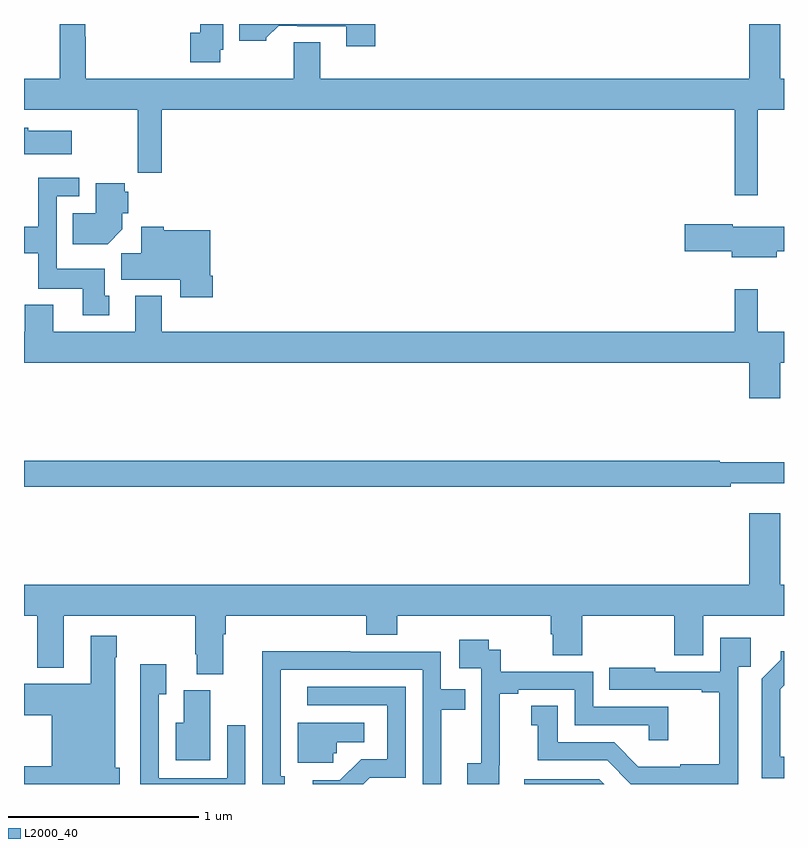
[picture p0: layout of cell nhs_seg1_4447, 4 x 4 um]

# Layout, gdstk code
import gdstk
lib = gdstk.Library(unit=1e-6, precision=1e-09)
def P(c, l, *ps):  # polygons
    for p in ps: c.add(gdstk.Polygon(p, *l))
L2000_40 = (2000, 40)

nhs_seg1_4447 = lib.new_cell('nhs_seg1_4447')
P(nhs_seg1_4447, L2000_40, [(356.863,535.748),(357,535.748),(357,535.912),(356.98,535.912),(356.98,536.199),(356.816,536.199),(356.816,535.912),(354.559,535.912),(354.559,536.102),(354.419,536.102),(354.419,535.912),(353.324,535.912),(353.324,536.132),(353.323,536.132),(353.323,536.199),(353.188,536.199),(353.188,535.912),(353,535.912),(353,535.748),(353.598,535.748),(353.598,535.416),(353.726,535.416),(353.726,535.748),(356.742,535.748),(356.742,535.299),(356.863,535.299)],
  [(354.033,536.064),(354.049,536.064),(354.049,536.199),(353.927,536.199),(353.927,536.154),(353.876,536.154),(353.876,535.998),(354.033,535.998)],
  [(354.848,536.199),(354.134,536.199),(354.134,536.111),(354.276,536.111),(354.276,536.126),(354.34,536.19),(354.439,536.19),(354.439,536.187),(354.695,536.187),(354.695,536.082),(354.848,536.082)],
  [(353.251,535.636),(353.022,535.636),(353.022,535.654),(353,535.654),(353,535.514),(353.251,535.514)],
  [(353.449,534.768),(353.425,534.768),(353.425,534.91),(353.172,534.91),(353.172,535.293),(353.29,535.293),(353.29,535.389),(353.076,535.389),(353.076,535.132),(353,535.132),(353,534.992),(353.074,534.992),(353.074,534.806),(353.309,534.806),(353.309,534.666),(353.449,534.666)],
  [(353.518,535.118),(353.518,535.203),(353.549,535.203),(353.549,535.317),(353.531,535.317),(353.531,535.362),(353.378,535.362),(353.378,535.204),(353.257,535.204),(353.257,535.04),(353.44,535.04)],
  [(356.962,535.003),(357,535.003),(357,535.132),(356.73,535.132),(356.73,535.145),(356.478,535.145),(356.478,535.003),(356.726,535.003),(356.726,534.971),(356.962,534.971)],
  [(353.993,534.874),(353.98,534.874),(353.98,535.114),(353.736,535.114),(353.736,535.132),(353.618,535.132),(353.618,534.992),(353.513,534.992),(353.513,534.854),(353.822,534.854),(353.822,534.762),(353.993,534.762)],
  [(356.98,534.416),(357,534.416),(357,534.58),(356.863,534.58),(356.863,534.802),(356.742,534.802),(356.742,534.58),(353.725,534.58),(353.725,534.769),(353.585,534.769),(353.585,534.58),(353.155,534.58),(353.155,534.721),(353.003,534.721),(353.003,534.58),(353,534.58),(353,534.416),(356.816,534.416),(356.816,534.228),(356.98,534.228)],
  [(356.72,533.783),(357,533.783),(357,533.893),(356.662,533.893),(356.662,533.9),(353,533.9),(353,533.764),(356.72,533.764)],
  [(353,533.084),(353.069,533.084),(353.069,532.811),(353.209,532.811),(353.209,533.084),(353.902,533.084),(353.902,532.882),(353.909,532.882),(353.909,532.777),(354.049,532.777),(354.049,532.988),(354.062,532.988),(354.062,533.084),(354.8,533.084),(354.8,532.985),(354.965,532.985),(354.965,533.084),(355.772,533.084),(355.772,532.986),(355.784,532.986),(355.784,532.876),(355.937,532.876),(355.937,533.084),(356.423,533.084),(356.423,532.876),(356.575,532.876),(356.575,533.084),(357,533.084),(357,533.248),(356.98,533.248),(356.98,533.623),(356.816,533.623),(356.816,533.248),(353,533.248)],
  [(353.503,532.284),(353.479,532.284),(353.479,532.865),(353.487,532.865),(353.487,532.978),(353.351,532.978),(353.351,532.726),(353,532.726),(353,532.562),(353.147,532.562),(353.147,532.292),(353,532.292),(353,532.199),(353.503,532.199)],
  [(356.76,532.817),(356.825,532.817),(356.825,532.969),(356.664,532.969),(356.664,532.791),(356.323,532.791),(356.323,532.81),(356.08,532.81),(356.08,532.695),(356.567,532.695),(356.567,532.683),(356.659,532.683),(356.659,532.303),(356.453,532.303),(356.453,532.291),(356.234,532.291),(356.106,532.419),(355.81,532.419),(355.81,532.61),(355.67,532.61),(355.67,532.507),(355.703,532.507),(355.703,532.323),(356.07,532.323),(356.194,532.199),(356.76,532.199)],
  [(355.502,532.297),(355.504,532.297),(355.504,532.675),(355.6,532.675),(355.6,532.695),(355.899,532.695),(355.899,532.509),(356.289,532.509),(356.289,532.428),(356.39,532.428),(356.39,532.605),(355.995,532.605),(355.995,532.791),(355.508,532.791),(355.508,532.905),(355.446,532.905),(355.446,532.957),(355.29,532.957),(355.29,532.809),(355.407,532.809),(355.407,532.505),(355.406,532.505),(355.406,532.308),(355.332,532.308),(355.332,532.199),(355.502,532.199)],
  [(354.373,532.239),(354.351,532.239),(354.351,532.8),(355.098,532.8),(355.098,532.199),(355.195,532.199),(355.195,532.59),(355.322,532.59),(355.322,532.698),(355.194,532.698),(355.194,532.896),(354.716,532.896),(354.716,532.898),(354.254,532.898),(354.254,532.594),(354.255,532.594),(354.255,532.199),(354.373,532.199)],
  [(357,532.343),(356.98,532.343),(356.98,532.699),(357,532.719),(357,532.898),(356.982,532.898),(356.982,532.853),(356.883,532.754),(356.883,532.23),(357,532.23)],
  [(354.165,532.507),(354.069,532.507),(354.069,532.23),(353.709,532.23),(353.709,532.672),(353.749,532.672),(353.749,532.828),(353.612,532.828),(353.612,532.384),(353.613,532.384),(353.613,532.199),(354.165,532.199)],
  [(354.819,532.233),(355.008,532.233),(355.008,532.71),(354.492,532.71),(354.492,532.614),(354.912,532.614),(354.912,532.329),(354.774,532.329),(354.663,532.218),(354.519,532.218),(354.519,532.199),(354.785,532.199)],
  [(353.98,532.692),(353.84,532.692),(353.84,532.522),(353.798,532.522),(353.798,532.325),(353.98,532.325)],
  [(354.627,532.362),(354.645,532.362),(354.645,532.418),(354.79,532.418),(354.79,532.522),(354.44,532.522),(354.44,532.311),(354.627,532.311)],
  [(356.028,532.224),(355.632,532.224),(355.632,532.199),(356.053,532.199)])

lib.write_gds('nhs_seg1_4447.gds')
